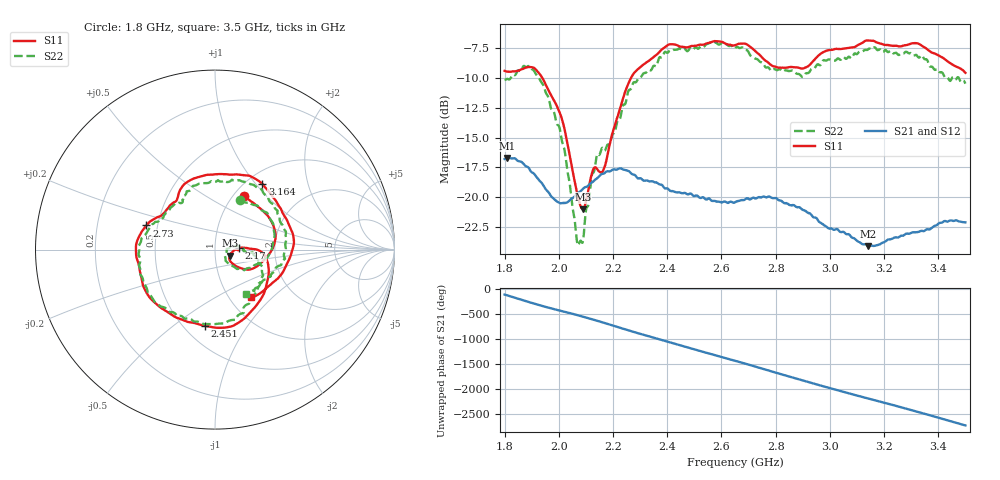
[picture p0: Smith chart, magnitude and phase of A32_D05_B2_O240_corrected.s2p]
! Created with skrf 1.9.0 (http://scikit-rf.org).
# Hz S RI R 50.0
!freq ReS11 ImS11 ReS21 ImS21 ReS12 ImS12 ReS22 ImS22
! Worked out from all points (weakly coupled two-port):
!   1601 points, 1.8 GHz to 3.5 GHz, reference 50 ohm
!   highest |S21| = -16.71 dB at 1.811 GHz (marker M1); lowest = -24.1 dB at 3.142 GHz (marker M2)
!   lowest |S11| = -21.0 dB at 2.089 GHz (marker M3), VSWR 1.20, Z = 58.9 - j3.9 ohm
!   |S11| at or under -10 dB: 1.939 GHz to 2.266 GHz (326.9 MHz wide, 15.5 % of centre)
!   |S22| runs from -24.0 to -7.0 dB; largest |S21 - S12| = 0.0025
!   S11 on the Smith chart (normalised r, x): 1.8 GHz: 1.13, +0.75; 2.17 GHz: 1.31, +0.02; 2.451 GHz: 0.63, -0.65; 2.73 GHz: 0.43, +0.14; 3.164 GHz: 1.18, +1.08; 3.5 GHz: 1.26, -0.75
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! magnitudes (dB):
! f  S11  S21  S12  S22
! 1.8 GHz  -9.4  -16.8  -16.8  -10.2
! 1.811 GHz  -9.5  -16.7  -16.7  -10.1
! 1.887 GHz  -9.1  -17.5  -17.6  -9.0
! 1.942 GHz  -10.1  -19.0  -19.0  -10.6
! 2.011 GHz  -13.4  -20.5  -20.5  -15.3
! 2.067 GHz  -19.6  -19.7  -19.7  -23.7
! 2.084 GHz  -20.9  -19.4  -19.4  -23.8
! 2.089 GHz  -21.0  -19.3  -19.3  -23.7
! 2.13 GHz  -17.5  -18.6  -18.6  -17.8
! 2.17 GHz  -17.4  -18.0  -18.0  -16.1
! 2.262 GHz  -10.2  -17.9  -17.9  -11.0
! 2.367 GHz  -7.9  -18.9  -18.8  -8.5
! 2.451 GHz  -7.4  -19.7  -19.6  -7.6
! 2.65 GHz  -7.3  -20.4  -20.4  -7.5
! 2.73 GHz  -7.9  -20.1  -20.1  -8.4
! 2.809 GHz  -9.1  -20.2  -20.1  -9.3
! 2.934 GHz  -8.7  -21.6  -21.5  -9.2
! 3.142 GHz  -6.9  -24.1  -24.0  -7.6
! 3.164 GHz  -6.9  -24.1  -24.1  -7.4
! 3.217 GHz  -7.2  -23.6  -23.5  -7.8
! 3.327 GHz  -7.1  -22.9  -22.9  -8.3
! 3.5 GHz  -9.6  -22.1  -22.1  -10.5
